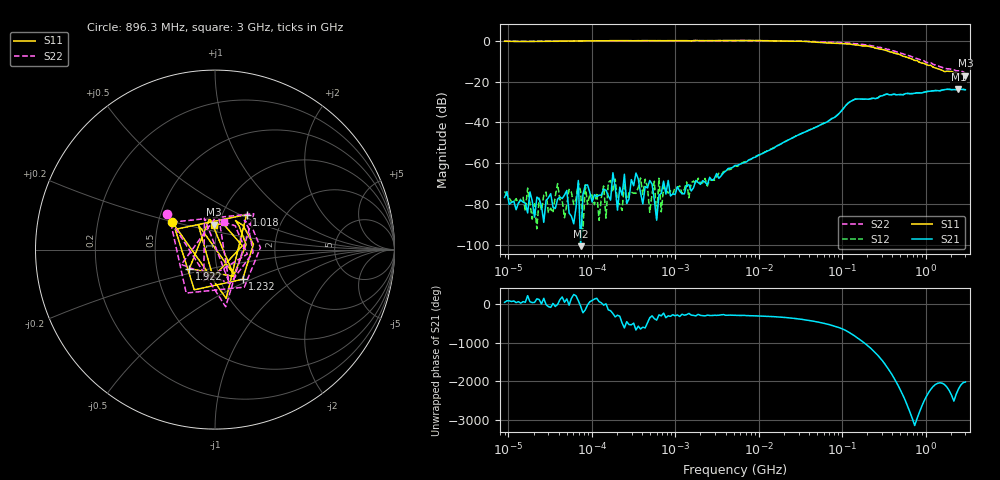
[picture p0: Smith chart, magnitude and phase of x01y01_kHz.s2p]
#  HZ  S  RI  R  50.0
! Rohde & Schwarz ZVL3 2Ports - Version 2.10 - 1303.6509k03 SN: 100567
! Date: 2007-12-13 01:09:34
! Eingang -40dB
! Data & Calibration Information:
! Trc1:S11(TOSM) Trc4:S21(TOSM) Trc3:S12(TOSM) Trc2:S22(TOSM)
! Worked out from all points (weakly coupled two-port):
!   201 points, 9 kHz to 3 GHz, reference 50 ohm
!   highest |S21| = -23.70 dB at 2.479 GHz (marker M1); lowest = -100.5 dB at 73.37 kHz (marker M2)
!   lowest |S11| = -17.1 dB at 3 GHz (marker M3), VSWR 1.32, Z = 47.3 + j13.4 ohm
!   |S11| at or under -10 dB: 809.7 MHz to end of sweep
!   |S22| runs from -15.8 to 0.1 dB; largest |S21 - S12| = 0.00073
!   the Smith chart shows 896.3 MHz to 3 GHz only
!   S11 on the Smith chart (normalised r, x): 896.3 MHz: 0.59, +0.20; 1.018 GHz: 1.30, +0.54; 1.232 GHz: 1.28, -0.44; 1.922 GHz: 0.73, -0.16; 3 GHz: 0.95, +0.27
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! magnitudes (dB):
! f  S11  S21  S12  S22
! 9 kHz  -0.2  -76.7  -73.8  -0.2
! 68.85 kHz  -0.1  -68.4  -69.5  -0.1
! 73.37 kHz  -0.1  -100.5  -73.9  -0.1
! 78.19 kHz  -0.1  -75.2  -93.3  -0.1
! 167.7 kHz  0.1  -78.0  -68.4  0.0
! 178.7 kHz  0.1  -64.6  -73.9  0.0
! 202.9 kHz  0.0  -82.9  -78.8  0.0
! 245.6 kHz  0.0  -65.3  -69.6  0.0
! 261.7 kHz  0.0  -79.7  -79.6  0.0
! 337.5 kHz  0.0  -64.7  -74.7  0.0
! 598.1 kHz  0.1  -87.9  -86.7  0.0
! 637.4 kHz  0.0  -75.5  -67.3  0.0
! 679.2 kHz  0.0  -74.7  -83.8  0.0
! 5.537 MHz  0.1  -61.0  -61.5  0.1
! 45.14 MHz  -0.6  -42.9  -42.8  -0.4
! 368 MHz  -5.4  -26.5  -26.5  -4.3
! 896.3 MHz  -10.9  -25.5  -25.5  -9.5
! 1.018 GHz  -11.6  -24.9  -24.9  -10.6
! 1.232 GHz  -12.9  -24.5  -24.5  -11.5
! 1.922 GHz  -15.0  -23.8  -23.8  -13.8
! 2.479 GHz  -16.2  -23.7  -23.7  -14.7
! 3 GHz  -17.1  -24.0  -24.0  -15.8
